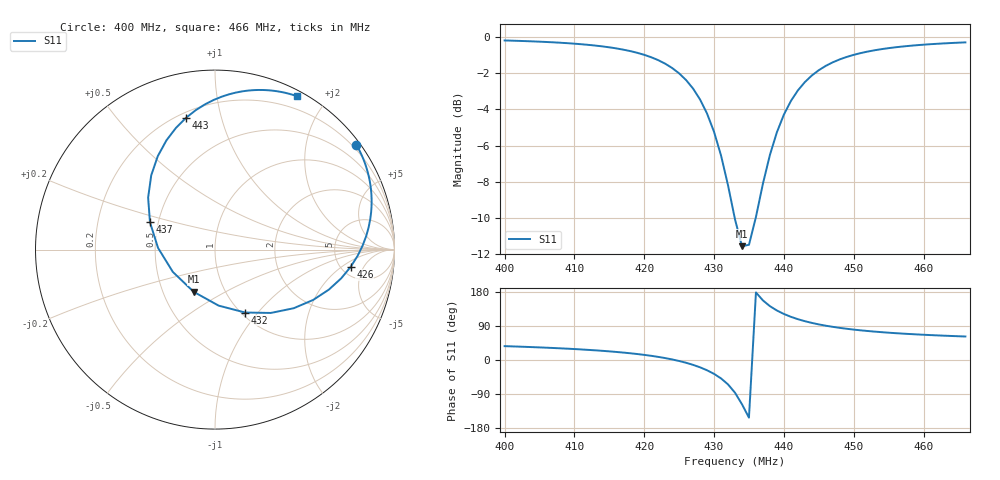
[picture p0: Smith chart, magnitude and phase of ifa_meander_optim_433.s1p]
! S1P file generated from impedance data
! Reference impedance Z0 = 25 Ohms
# Hz S RI R 25
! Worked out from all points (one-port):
!   67 points, 400 MHz to 466 MHz, reference 25 ohm
!   lowest |S11| = -11.6 dB at 434 MHz (marker M1), VSWR 1.72, Z = 17.8 - j8.99 ohm
!   |S11| at or under -10 dB: 433 MHz to 436 MHz (3.026 MHz wide, 0.697 % of centre)
!   S11 on the Smith chart (normalised r, x): 400 MHz: 0.10, +3.02; 426 MHz: 6.05, -2.80; 432 MHz: 1.04, -0.86; 437 MHz: 0.45, +0.16; 443 MHz: 0.23, +0.78; 466 MHz: 0.06, +1.66
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4e8  0.7874 0.5846
4.09e8  0.8359 0.4798
4.13e8  0.8567 0.4086
4.17e8  0.8713 0.3101
4.2e8  0.8699 0.209
4.22e8  0.8559 0.1237
4.25e8  0.7938 -0.0362
4.26e8  0.755 -0.0973
4.28e8  0.6343 -0.223
4.29e8  0.5468 -0.2805
4.3e8  0.4387 -0.3266
4.31e8  0.3108 -0.353
4.32e8  0.168 -0.3506
4.33e8  0.0202 -0.3122
4.34e8  -0.1189 -0.2352
4.35e8  -0.235 -0.1242
4.36e8  -0.3174 0.00955
4.37e8  -0.3623 0.1519
4.38e8  -0.3725 0.2898
4.39e8  -0.3552 0.4142
4.4e8  -0.3188 0.5206
4.42e8  -0.2172 0.6786
4.43e8  -0.162 0.7337
4.46e8  -0.00761 0.8337
4.5e8  0.1516 0.8816
4.54e8  0.2645 0.8893
4.58e8  0.346 0.8822
4.66e8  0.4546 0.8555
